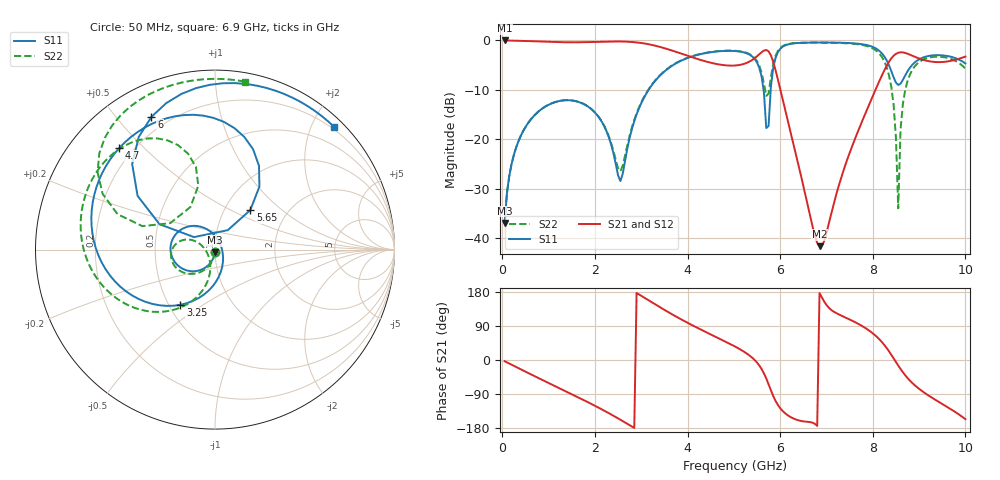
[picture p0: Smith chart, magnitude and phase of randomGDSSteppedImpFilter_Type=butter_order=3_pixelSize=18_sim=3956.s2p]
! freq	dB(S11)	phase(S11)	dB(S12)	phase(S12)
!  dB(S21)	phase(S21)	dB(S22)	phase(S22)
!S-par simulation data
#  GHz  S  DB  R 50
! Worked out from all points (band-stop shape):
!   200 points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, 50 MHz to 10 GHz, reference 50 ohm
!   highest |S21| = -0.01 dB at 50 MHz (marker M1); lowest = -41.7 dB at 6.85 GHz (marker M2)
!   |S21| within 3 dB of the highest: start of sweep to 3.97 GHz; 8.463 GHz to 8.832 GHz (369.1 MHz wide, 4.27 % of centre) (the widest 2 of 3)
!   lowest |S11| = -36.9 dB at 50 MHz (marker M3), VSWR 1.03, Z = 49.9 - j1.42 ohm
!   |S11| at or under -10 dB: start of sweep to 3.16 GHz; 5.641 GHz to 5.796 GHz (155.3 MHz wide, 2.72 % of centre)
!   |S22| runs from -36.9 to -0.4 dB; largest |S21 - S12| = 0
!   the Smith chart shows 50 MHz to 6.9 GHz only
!   S11 on the Smith chart (normalised r, x): 50 MHz: 1.00, -0.03; 3.25 GHz: 0.57, -0.41; 4.7 GHz: 0.15, +0.43; 5.65 GHz: 1.32, +0.63; 6 GHz: 0.14, +0.62; 6.9 GHz: 0.16, +2.36
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0.05  -36.95 -93.1  -0.01 -3.1  -0.01 -3.1  -36.94 -92.6
0.55  -16.84 -126.8  -0.14 -33.8  -0.14 -33.8  -16.83 -121.8
1.75  -12.85 154.1  -0.36 -105.2  -0.36 -105.2  -12.83 174.9
2.55  -28.48 15.7  -0.21 -157.6  -0.21 -157.6  -26.49 -151.2
3.25  -8.80 -122.1  -0.95 150.7  -0.95 150.7  -8.70 -119.9
3.4  -7.17 -134.9  -1.30 139.6  -1.30 139.6  -7.09 -128.8
4.7  -2.18 133.2  -4.90 55.7  -4.90 55.7  -2.14 158.2
5.05  -2.16 110.0  -5.06 34.0  -5.06 34.0  -2.11 139.6
5.65  -10.60 48.2  -2.05 -35.3  -2.05 -35.3  -8.70 104.7
5.75  -17.33 149.2  -2.21 -64.1  -2.21 -64.1  -10.76 149.5
6  -1.72 115.6  -9.79 -126.9  -9.79 -126.9  -1.53 140.2
6.7  -0.43 56.9  -37.68 -165.5  -37.68 -165.5  -0.43 90.5
6.85  -0.42 48.5  -41.67 176.6  -41.67 176.6  -0.44 82.5
6.9  -0.42 45.8  -41.54 165.8  -41.54 165.8  -0.44 79.9
7.9  -1.01 -10.0  -13.46 79.5  -13.46 79.5  -1.23 17.6
8.35  -5.02 -41.6  -4.33 23.0  -4.33 23.0  -7.06 -40.4
8.5  -8.54 -33.1  -2.72 -5.2  -2.72 -5.2  -19.70 -66.5
8.55  -9.02 -23.9  -2.50 -14.7  -2.50 -14.7  -34.01 47.0
8.6  -8.76 -15.0  -2.41 -23.8  -2.41 -23.8  -17.96 87.9
8.8  -5.55 -6.1  -2.88 -54.1  -2.88 -54.1  -6.95 58.7
9.4  -2.98 -34.9  -4.39 -108.6  -4.39 -108.6  -3.30 0.5
10  -4.65 -61.1  -3.27 -156.2  -3.27 -156.2  -5.73 -56.0
